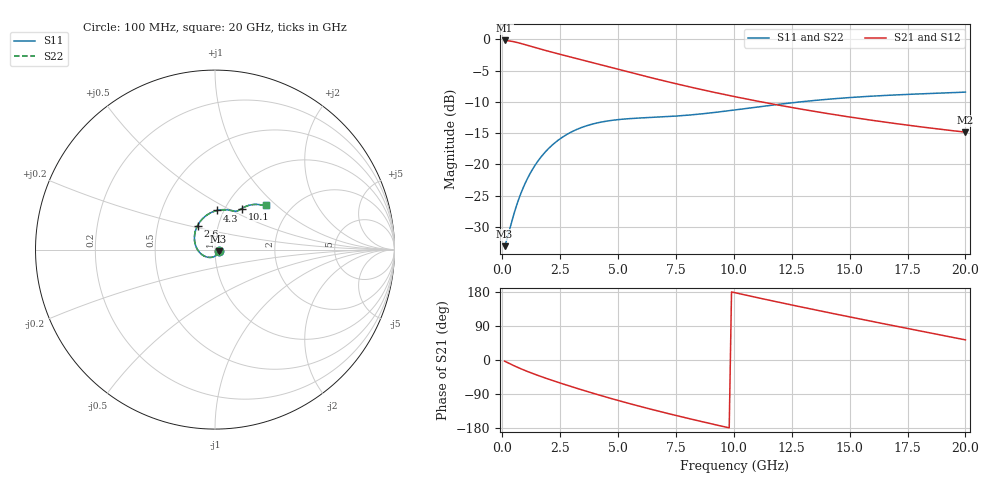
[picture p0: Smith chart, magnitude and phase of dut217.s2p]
! Touchstone file exported from HFSS 2023.1.0
!  File:  D:/Users/fzz/RDL_TSV/temp_RDL_TSV_217_1778757471.aedt
!  Generated:  7:28:04 %x4E0B%x5348  5%x6708 14, 2026
!  Design:  RDL_TSV
!  Project:  temp_RDL_TSV_217_1778757471
!  Setup:  Setup1
!  Solution:  Sweep
! Variables:
!  dtsv = 21.69um
!  hbump = 3um
!  htsv = 94.41um
!  ldown = 340.56um
!  lrdl = 689.89um
!  p = 40
!  p1 = 56.52um
!  rhole = 10um
!  subl = 3781.24um
!  t = 450um
!  tdown = 4.45um
!  trdl = 2.83um
!  viad = 10um
!  wdown = 14.41um
!  wrdl = 21.9um
!  xbump = 18um
# GHz S MA R 50.000000
! Terminal data exported
! Port[1] = TM1_1_T1
! Port[2] = TM1_4_T1
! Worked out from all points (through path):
!   200 points, 100 MHz to 20 GHz, reference 50 ohm
!   highest |S21| = -0.20 dB at 100 MHz (marker M1); lowest = -14.9 dB at 20 GHz (marker M2)
!   group delay of S21, straight-line fit = 40.2 ps
!   lowest |S11| = -33.1 dB at 100 MHz (marker M3), VSWR 1.05, Z = 52.1 - j0.963 ohm
!   |S11| at or under -10 dB: start of sweep to 12.9 GHz
!   |S22| runs from -33.1 to -8.5 dB; largest |S21 - S12| = 9.4e-15
!   S11 on the Smith chart (normalised r, x): 100 MHz: 1.04, -0.02; 2.6 GHz: 0.80, +0.22; 4.3 GHz: 0.93, +0.42; 10.1 GHz: 1.19, +0.59; 20 GHz: 1.51, +0.86
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0.1  0.02221 -24.6  0.9775 -3.1  0.9775 -3.1  0.02221 -24.6
! Gamma 0 0 0 0
! Port Impedance 50 0 50 0
0.4  0.03451 -84.2  0.963 -12.0  0.963 -12.0  0.03451 -84.2
0.7  0.05214 -122.8  0.9359 -20.5  0.9359 -20.5  0.05214 -122.8
0.9  0.0649 -142.5  0.9145 -25.7  0.9145 -25.7  0.06489 -142.4
1.2  0.08445 -166.5  0.8813 -33.0  0.8813 -33.0  0.08443 -166.4
1.8  0.1223 158.0  0.8195 -46.4  0.8195 -46.4  0.1222 158.1
2.2  0.145 140.5  0.7828 -54.7  0.7828 -54.7  0.1449 140.5
2.6  0.1651 126.1  0.7488 -62.7  0.7488 -62.7  0.1649 126.2
3.5  0.1994 102.1  0.6785 -80.0  0.6785 -80.0  0.1992 102.1
4.3  0.2183 87.2  0.6213 -94.6  0.6213 -94.6  0.2179 87.2
4.9  0.2268 78.9  0.5815 -105.1  0.5815 -105.1  0.2263 78.9
5.5  0.2321 72.6  0.5444 -115.1  0.5444 -115.1  0.2316 72.6
6.1  0.2356 67.9  0.5101 -124.9  0.5101 -124.9  0.235 67.9
6.8  0.2391 64.1  0.4737 -135.8  0.4737 -135.8  0.2384 64.1
7.5  0.2433 61.6  0.441 -146.4  0.441 -146.4  0.2426 61.6
8.3  0.25 59.7  0.4077 -158.1  0.4077 -158.1  0.2493 59.8
10.1  0.2731 56.9  0.3459 176.8  0.3459 176.8  0.2723 57.0
11.7  0.2982 54.2  0.303 155.5  0.303 155.5  0.2973 54.3
13.4  0.3231 50.7  0.2667 133.7  0.2667 133.7  0.3221 50.8
15  0.3419 47.5  0.2391 113.7  0.2391 113.7  0.3407 47.6
16.7  0.3567 44.5  0.2154 92.9  0.2154 92.9  0.3555 44.7
20  0.3778 40.6  0.1809 53.1  0.1809 53.1  0.3765 40.9
